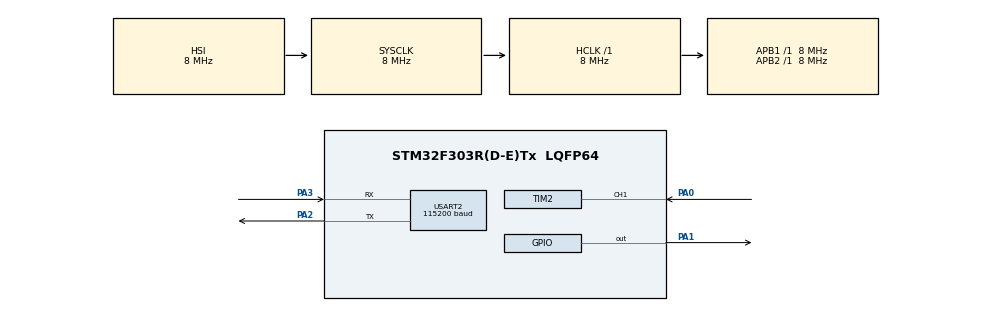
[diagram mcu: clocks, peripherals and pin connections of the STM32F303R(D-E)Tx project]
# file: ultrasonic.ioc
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Mcu.Family=STM32F3
Mcu.Name=STM32F303R(D-E)Tx
Mcu.Package=LQFP64
NVIC.PriorityGroup=NVIC_PRIORITYGROUP_4
NVIC.TIM1_UP_TIM16_IRQn=true\:0\:0\:true\:false\:true\:true
NVIC.TIM2_IRQn=true\:0\:0\:false\:false\:true\:true
PA0.Signal=S_TIM2_CH1_ETR
PA1.Signal=GPIO_Output
PA2.Mode=Asynchronous
PA2.Signal=USART2_TX
PA3.Mode=Asynchronous
PA3.Signal=USART2_RX
ProjectManager.HeapSize=0x200
ProjectManager.StackSize=0x400
ProjectManager.TargetToolchain=TrueSTUDIO
RCC.AHBFreq_Value=8000000
RCC.APB1Freq_Value=8000000
RCC.APB2Freq_Value=8000000
RCC.CortexFreq_Value=8000000
RCC.HSE_VALUE=8000000
RCC.HSI_VALUE=8000000
RCC.LSE_VALUE=32768
RCC.SYSCLKFreq_VALUE=8000000
RCC.USBFreq_Value=16000000
SH.S_TIM2_CH1_ETR.0=TIM2_CH1,Input_Capture1_from_TI1
TIM1.Period=10
TIM1.Prescaler=7
TIM2.Channel-Input_Capture1_from_TI1=TIM_CHANNEL_1
TIM2.ICPolarity_CH1=TIM_INPUTCHANNELPOLARITY_BOTHEDGE
TIM2.Period=0xffffffff
TIM2.Prescaler=7
USART2.BaudRate=115200
USART2.VirtualMode-Asynchronous=VM_ASYNC
USART2.WordLength=WORDLENGTH_8B
VP_TIM1_VS_ClockSourceINT.Mode=Internal
board=ultrasonic

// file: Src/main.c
/**
  ******************************************************************************
  * @file           : main.c
  * @brief          : Main program body
  ******************************************************************************
  ** This notice applies to any and all portions of this file
  * that are not between comment pairs USER CODE BEGIN and
  * USER CODE END. Other portions of this file, whether
  * inserted by the user or by software development tools
  * are owned by their respective copyright owners.
  *
  * COPYRIGHT(c) 2018 STMicroelectronics
  *
  * Redistribution and use in source and binary forms, with or without modification,
  * are permitted provided that the following conditions are met:
  *   1. Redistributions of source code must retain the above copyright notice,
  *      this list of conditions and the following disclaimer.
  *   2. Redistributions in binary form must reproduce the above copyright notice,
  *      this list of conditions and the following disclaimer in the documentation
  *      and/or other materials provided with the distribution.
  *   3. Neither the name of STMicroelectronics nor the names of its contributors
  *      may be used to endorse or promote products derived from this software
  *      without specific prior written permission.
  *
  * THIS SOFTWARE IS PROVIDED BY THE COPYRIGHT HOLDERS AND CONTRIBUTORS "AS IS"
  * AND ANY EXPRESS OR IMPLIED WARRANTIES, INCLUDING, BUT NOT LIMITED TO, THE
  * IMPLIED WARRANTIES OF MERCHANTABILITY AND FITNESS FOR A PARTICULAR PURPOSE ARE
  * DISCLAIMED. IN NO EVENT SHALL THE COPYRIGHT HOLDER OR CONTRIBUTORS BE LIABLE
  * FOR ANY DIRECT, INDIRECT, INCIDENTAL, SPECIAL, EXEMPLARY, OR CONSEQUENTIAL
  * DAMAGES (INCLUDING, BUT NOT LIMITED TO, PROCUREMENT OF SUBSTITUTE GOODS OR
  * SERVICES; LOSS OF USE, DATA, OR PROFITS; OR BUSINESS INTERRUPTION) HOWEVER
  * CAUSED AND ON ANY THEORY OF LIABILITY, WHETHER IN CONTRACT, STRICT LIABILITY,
  * OR TORT (INCLUDING NEGLIGENCE OR OTHERWISE) ARISING IN ANY WAY OUT OF THE USE
  * OF THIS SOFTWARE, EVEN IF ADVISED OF THE POSSIBILITY OF SUCH DAMAGE.
  *
  ******************************************************************************
  */
#include "main.h"
#include "stm32f3xx_hal.h"

TIM_HandleTypeDef htim1;
TIM_HandleTypeDef htim2;

UART_HandleTypeDef huart2;

/* USER CODE BEGIN PV */
/* Private variables ---------------------------------------------------------*/

/* USER CODE END PV */

void SystemClock_Config(void);
static void MX_GPIO_Init(void);
static void MX_TIM2_Init(void);
static void MX_USART2_UART_Init(void);
static void MX_TIM1_Init(void);

/* USER CODE BEGIN PFP */
/* Private function prototypes -----------------------------------------------*/

/* USER CODE END PFP */

/* USER CODE BEGIN 0 */
void HAL_TIM_IC_CaptureCallback(TIM_HandleTypeDef* htim){
	if(htim->Instance==TIM2){
		if(HAL_GPIO_ReadPin(GPIOA,GPIO_PIN_0)==1){
			__HAL_TIM_SET_COUNTER(&htim2,0);
		}else{
			int cnt=__HAL_TIM_GET_COUNTER(&htim2);
			double distance=cnt/(double)58;
			int integer=(int)distance;
			int point=(int)((distance-integer)*100);
			char tosend[20]={0};
			sprintf(tosend,"%d.%02d\r\n",integer,point);
			HAL_UART_Transmit(&huart2,tosend,sizeof(tosend),0xffff);
			HAL_TIM_Base_Start_IT(&htim1);
		}
	}
}

int tim1Count=7000;
void HAL_TIM_PeriodElapsedCallback(TIM_HandleTypeDef *htim){

	if(htim->Instance==TIM1){
		if(tim1Count<7000){
			tim1Count++;
		}else{
			HAL_TIM_Base_Stop_IT(&htim1);
			if(HAL_GPIO_ReadPin(GPIOA,GPIO_PIN_1)==0){
				HAL_GPIO_WritePin(GPIOA,GPIO_PIN_1,1);
				HAL_TIM_Base_Start_IT(&htim1);
			}else{
				tim1Count=0;
				HAL_GPIO_WritePin(GPIOA,GPIO_PIN_1,0);
			}
		}
	}
}
/* USER CODE END 0 */

int main(void)
{

  /* MCU Configuration----------------------------------------------------------*/

  /* Reset of all peripherals, Initializes the Flash interface and the Systick. */
  HAL_Init();

  /* Configure the system clock */
  SystemClock_Config();

  /* Initialize all configured peripherals */
  MX_GPIO_Init();
  MX_TIM2_Init();
  MX_USART2_UART_Init();
  MX_TIM1_Init();
  /* USER CODE BEGIN 2 */
  HAL_TIM_IC_Start_IT(&htim2,TIM_CHANNEL_1);
  HAL_TIM_Base_Start_IT(&htim1);
  /* USER CODE END 2 */

  /* Infinite loop */
  while (1)
  {

  }

}

void SystemClock_Config(void)
{

  RCC_OscInitTypeDef RCC_OscInitStruct;
  RCC_ClkInitTypeDef RCC_ClkInitStruct;
  RCC_PeriphCLKInitTypeDef PeriphClkInit;

    /**Initializes the CPU, AHB and APB busses clocks
    */
  RCC_OscInitStruct.OscillatorType = RCC_OSCILLATORTYPE_HSI;
  RCC_OscInitStruct.HSIState = RCC_HSI_ON;
  RCC_OscInitStruct.HSICalibrationValue = 16;
  RCC_OscInitStruct.PLL.PLLState = RCC_PLL_NONE;
  if (HAL_RCC_OscConfig(&RCC_OscInitStruct) != HAL_OK)
  {
    _Error_Handler(__FILE__, __LINE__);
  }

    /**Initializes the CPU, AHB and APB busses clocks
    */
  RCC_ClkInitStruct.ClockType = RCC_CLOCKTYPE_HCLK|RCC_CLOCKTYPE_SYSCLK
                              |RCC_CLOCKTYPE_PCLK1|RCC_CLOCKTYPE_PCLK2;
  RCC_ClkInitStruct.SYSCLKSource = RCC_SYSCLKSOURCE_HSI;
  RCC_ClkInitStruct.AHBCLKDivider = RCC_SYSCLK_DIV1;
  RCC_ClkInitStruct.APB1CLKDivider = RCC_HCLK_DIV1;
  RCC_ClkInitStruct.APB2CLKDivider = RCC_HCLK_DIV1;

  if (HAL_RCC_ClockConfig(&RCC_ClkInitStruct, FLASH_LATENCY_0) != HAL_OK)
  {
    _Error_Handler(__FILE__, __LINE__);
  }

  PeriphClkInit.PeriphClockSelection = RCC_PERIPHCLK_USART2|RCC_PERIPHCLK_TIM1
                              |RCC_PERIPHCLK_TIM2;
  PeriphClkInit.Usart2ClockSelection = RCC_USART2CLKSOURCE_PCLK1;
  PeriphClkInit.Tim1ClockSelection = RCC_TIM1CLK_HCLK;
  PeriphClkInit.Tim2ClockSelection = RCC_TIM2CLK_HCLK;
  if (HAL_RCCEx_PeriphCLKConfig(&PeriphClkInit) != HAL_OK)
  {
    _Error_Handler(__FILE__, __LINE__);
  }

    /**Configure the Systick interrupt time
    */
  HAL_SYSTICK_Config(HAL_RCC_GetHCLKFreq()/1000);

    /**Configure the Systick
    */
  HAL_SYSTICK_CLKSourceConfig(SYSTICK_CLKSOURCE_HCLK);

  /* SysTick_IRQn interrupt configuration */
  HAL_NVIC_SetPriority(SysTick_IRQn, 0, 0);
}

/* TIM1 init function */
static void MX_TIM1_Init(void)
{

  TIM_ClockConfigTypeDef sClockSourceConfig;
  TIM_MasterConfigTypeDef sMasterConfig;

  htim1.Instance = TIM1;
  htim1.Init.Prescaler = 7;
  htim1.Init.CounterMode = TIM_COUNTERMODE_UP;
  htim1.Init.Period = 10;
  htim1.Init.ClockDivision = TIM_CLOCKDIVISION_DIV1;
  htim1.Init.RepetitionCounter = 0;
  htim1.Init.AutoReloadPreload = TIM_AUTORELOAD_PRELOAD_DISABLE;
  if (HAL_TIM_Base_Init(&htim1) != HAL_OK)
  {
    _Error_Handler(__FILE__, __LINE__);
  }

  sClockSourceConfig.ClockSource = TIM_CLOCKSOURCE_INTERNAL;
  if (HAL_TIM_ConfigClockSource(&htim1, &sClockSourceConfig) != HAL_OK)
  {
    _Error_Handler(__FILE__, __LINE__);
  }

  sMasterConfig.MasterOutputTrigger = TIM_TRGO_RESET;
  sMasterConfig.MasterOutputTrigger2 = TIM_TRGO2_RESET;
  sMasterConfig.MasterSlaveMode = TIM_MASTERSLAVEMODE_DISABLE;
  if (HAL_TIMEx_MasterConfigSynchronization(&htim1, &sMasterConfig) != HAL_OK)
  {
    _Error_Handler(__FILE__, __LINE__);
  }

}

/* TIM2 init function */
static void MX_TIM2_Init(void)
{

  TIM_MasterConfigTypeDef sMasterConfig;
  TIM_IC_InitTypeDef sConfigIC;

  htim2.Instance = TIM2;
  htim2.Init.Prescaler = 7;
  htim2.Init.CounterMode = TIM_COUNTERMODE_UP;
  htim2.Init.Period = 0xffffffff;
  htim2.Init.ClockDivision = TIM_CLOCKDIVISION_DIV1;
  htim2.Init.AutoReloadPreload = TIM_AUTORELOAD_PRELOAD_DISABLE;
  if (HAL_TIM_IC_Init(&htim2) != HAL_OK)
  {
    _Error_Handler(__FILE__, __LINE__);
  }

  sMasterConfig.MasterOutputTrigger = TIM_TRGO_RESET;
  sMasterConfig.MasterSlaveMode = TIM_MASTERSLAVEMODE_DISABLE;
  if (HAL_TIMEx_MasterConfigSynchronization(&htim2, &sMasterConfig) != HAL_OK)
  {
    _Error_Handler(__FILE__, __LINE__);
  }

  sConfigIC.ICPolarity = TIM_INPUTCHANNELPOLARITY_BOTHEDGE;
  sConfigIC.ICSelection = TIM_ICSELECTION_DIRECTTI;
  sConfigIC.ICPrescaler = TIM_ICPSC_DIV1;
  sConfigIC.ICFilter = 0;
  if (HAL_TIM_IC_ConfigChannel(&htim2, &sConfigIC, TIM_CHANNEL_1) != HAL_OK)
  {
    _Error_Handler(__FILE__, __LINE__);
  }

}

/* USART2 init function */
static void MX_USART2_UART_Init(void)
{

  huart2.Instance = USART2;
  huart2.Init.BaudRate = 115200;
  huart2.Init.WordLength = UART_WORDLENGTH_8B;
  huart2.Init.StopBits = UART_STOPBITS_1;
  huart2.Init.Parity = UART_PARITY_NONE;
  huart2.Init.Mode = UART_MODE_TX_RX;
  huart2.Init.HwFlowCtl = UART_HWCONTROL_NONE;
  huart2.Init.OverSampling = UART_OVERSAMPLING_16;
  huart2.Init.OneBitSampling = UART_ONE_BIT_SAMPLE_DISABLE;
  huart2.AdvancedInit.AdvFeatureInit = UART_ADVFEATURE_NO_INIT;
  if (HAL_UART_Init(&huart2) != HAL_OK)
  {
    _Error_Handler(__FILE__, __LINE__);
  }

}

/** Configure pins as
        * Analog
        * Input
        * Output
        * EVENT_OUT
        * EXTI
*/
static void MX_GPIO_Init(void)
{

  GPIO_InitTypeDef GPIO_InitStruct;

  /* GPIO Ports Clock Enable */
  __HAL_RCC_GPIOA_CLK_ENABLE();

  /*Configure GPIO pin Output Level */
  HAL_GPIO_WritePin(GPIOA, GPIO_PIN_1, GPIO_PIN_RESET);

  /*Configure GPIO pin : PA1 */
  GPIO_InitStruct.Pin = GPIO_PIN_1;
  GPIO_InitStruct.Mode = GPIO_MODE_OUTPUT_PP;
  GPIO_InitStruct.Pull = GPIO_NOPULL;
  GPIO_InitStruct.Speed = GPIO_SPEED_FREQ_LOW;
  HAL_GPIO_Init(GPIOA, &GPIO_InitStruct);

}

void _Error_Handler(char *file, int line)
{
  while(1)
  {
  }
}

/************************ (C) COPYRIGHT STMicroelectronics *****END OF FILE****/
